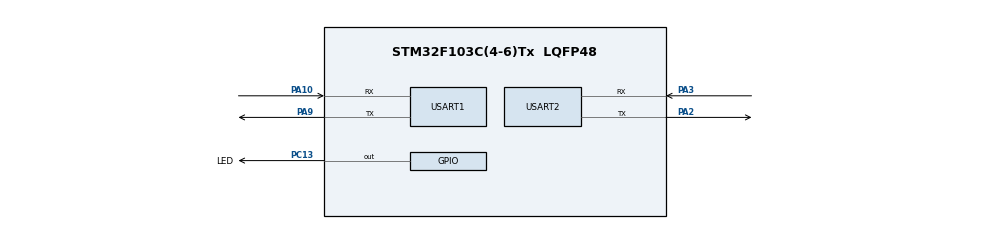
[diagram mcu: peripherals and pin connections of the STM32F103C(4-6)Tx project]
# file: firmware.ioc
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Mcu.Family=STM32F1
Mcu.Name=STM32F103C(4-6)Tx
Mcu.Package=LQFP48
NVIC.PriorityGroup=NVIC_PRIORITYGROUP_4
NVIC.TIM2_IRQn=true\:0\:0\:true\:false\:true\:true\:true\:true
NVIC.TIM3_IRQn=true\:1\:0\:true\:false\:true\:true\:true\:true
NVIC.USART1_IRQn=true\:0\:0\:true\:false\:true\:true\:true\:true
PA10.Mode=Asynchronous
PA10.Signal=USART1_RX
PA13.Mode=Serial_Wire
PA13.Signal=SYS_JTMS-SWDIO
PA14.Mode=Serial_Wire
PA14.Signal=SYS_JTCK-SWCLK
PA2.Mode=Asynchronous
PA2.Signal=USART2_TX
PA3.Mode=Asynchronous
PA3.Signal=USART2_RX
PA9.Mode=Asynchronous
PA9.Signal=USART1_TX
PC13-TAMPER-RTC.GPIO_Label=LED
PC13-TAMPER-RTC.PinState=GPIO_PIN_SET
PC13-TAMPER-RTC.Signal=GPIO_Output
PD0-OSC_IN.Mode=HSE-External-Oscillator
PD0-OSC_IN.Signal=RCC_OSC_IN
PD1-OSC_OUT.Mode=HSE-External-Oscillator
PD1-OSC_OUT.Signal=RCC_OSC_OUT
ProjectManager.HeapSize=0x200
ProjectManager.StackSize=0x400
ProjectManager.TargetToolchain=CMake
RCC.AHBFreq_Value=72000000
RCC.APB1CLKDivider=RCC_HCLK_DIV2
RCC.APB1Freq_Value=36000000
RCC.APB1TimFreq_Value=72000000
RCC.APB2Freq_Value=72000000
RCC.APB2TimFreq_Value=72000000
RCC.HCLKFreq_Value=72000000
RCC.PLLMUL=RCC_PLL_MUL9
RCC.PLLSourceVirtual=RCC_PLLSOURCE_HSE
RCC.SYSCLKFreq_VALUE=72000000
RCC.SYSCLKSource=RCC_SYSCLKSOURCE_PLLCLK
RCC.USBFreq_Value=72000000
TIM2.Period=999
TIM2.Prescaler=71
TIM3.Period=65535
TIM3.Prescaler=71
USART1.VirtualMode=VM_ASYNC
USART2.VirtualMode=VM_ASYNC
VP_TIM2_VS_ClockSourceINT.Mode=Internal
VP_TIM3_VS_ClockSourceINT.Mode=Internal
board=custom

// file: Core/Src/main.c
/* USER CODE BEGIN Header */
/**
 ******************************************************************************
 * @file           : main.c
 * @brief          : Main program body
 ******************************************************************************
 * @attention
 *
 * Copyright (c) 2026 STMicroelectronics.
 * All rights reserved.
 *
 * This software is licensed under terms that can be found in the LICENSE file
 * in the root directory of this software component.
 * If no LICENSE file comes with this software, it is provided AS-IS.
 *
 ******************************************************************************
 */
/* USER CODE END Header */
#include "main.h"
#include "tim.h"
#include "usart.h"
#include "gpio.h"

/* USER CODE BEGIN Includes */
#include <stdint.h>
#include <string.h>
#include <blinky.h>
#include <flash_storage.h>
#include <vscp-fifo.h>
#include <vscp-firmware-helper.h>
#include <vscp-firmware-level2.h>
#include <vscp-link-protocol.h>
#include <vscp-binary-protocol.h>
#include <vscp-link-protocol-callbacks.h>
/* USER CODE END Includes */

/* USER CODE BEGIN PTD */

typedef enum {
  VSCP_STATE_DISCONNECTED = 0, /**< Waiting for a client to connect    */
  VSCP_STATE_CONNECTED,        /**< Client connected, processing cmds  */
} vscp_state_t;

typedef enum {
  VSCP_SUBSTATE_POLL = 0, /**< Polling state */
  VSCP_SUBSTATE_AUTO,     /**< RETR mode */
} vscp_substate_t;

/* USER CODE END PTD */

/* USER CODE BEGIN PD */

// ** Check so one and only one build type is enabled **

/* Convert each define to 0 or 1 */
#ifdef BLINKY_MODE_TCP_SERVER
  #define _MODE_TCP_SERVER 1
#else
  #define _MODE_TCP_SERVER 0
#endif

#ifdef BLINKY_DEMO_MODE_TCP_CLIENT
  #define _OPT_MODE_TCP_CLIENT 1
#else
  #define _OPT_MODE_TCP_CLIENT 0
#endif

#ifdef BLINKY_DEMO_MODE_UDP
  #define _OPT_MODE_UDP 1
#else
  #define _OPT_MODE_UDP 0
#endif

#ifdef BLINKY_DEMO_MODE_MULTICAST
  #define _OPT_MODE_MULTICAST 1
#else
  #define _OPT_MODE_MULTICAST 0
#endif

#ifdef BLINKY_DEMO_MODE_MQTT
  #define _OPT_MODE_MQTT 1
#else
  #define _OPT_MODE_MQTT 0
#endif

#define _OPT_COUNT (_MODE_TCP_SERVER + _OPT_MODE_TCP_CLIENT + _OPT_MODE_UDP + _OPT_MODE_MULTICAST + _OPT_MODE_MQTT)

#if _OPT_COUNT > 1
  #error "Only one of BLINKY_MODE_TCP_SERVER/BLINKY_DEMO_MODE_TCP_CLIENT/BLINKY_DEMO_MODE_UDP/BLINKY_DEMO_MODE_MULTICAST/BLINKY_DEMO_MODE_MQTT may be defined at a time"
#endif

#if _OPT_COUNT != 1
  #error "Exactly one of BLINKY_MODE_TCP_SERVER/BLINKY_DEMO_MODE_TCP_CLIENT/BLINKY_DEMO_MODE_UDP/BLINKY_DEMO_MODE_MULTICAST/BLINKY_DEMO_MODE_MQTT must be defined"
#endif

/* USER CODE END PD */

/* USER CODE BEGIN PV */

/* Ring buffer for IRQ-driven UART1 RX ------------------------------------ */
#define UART1_RX_BUF_SIZE 2048u /* must be a power of 2 */
static uint8_t uart1_rx_buf[UART1_RX_BUF_SIZE];
static volatile uint16_t uart1_rx_head = 0; /* written by ISR/callback     */
static volatile uint16_t uart1_rx_tail = 0; /* read  by main loop          */
static uint8_t uart1_rx_byte;               /* single-byte DMA target      */

//----------------------------------------------------------------------------
//                         VSCP Link Protocol
//----------------------------------------------------------------------------

/*
  Connect callbacks in op table. This table is passed to the VSCP link protocol handler
  and defines the behavior for various operations.
*/
static const vscp_link_ops_t link_ops = {
  /* ── Transport ──────────────────────────────────────────────── */
  .write_client        = vscp_link_callback_write_client,
  .disconnect          = vscp_link_callback_disconnect,
  .quit                = vscp_link_callback_quit,
  .welcome             = vscp_link_callback_welcome,

  /* ── Authentication ─────────────────────────────────────────── */
  .check_user          = vscp_link_callback_check_user,
  .check_password      = vscp_link_callback_check_password,
  .challenge           = vscp_link_callback_challenge,
  .check_authenticated = vscp_link_callback_check_authenticated,
  .check_privilege     = vscp_link_callback_check_privilege,

  /* ── Event I/O ──────────────────────────────────────────────── */
  .send                = vscp_link_callback_send,
  .chkdata             = vscp_link_callback_chkData,
  .clrall              = vscp_link_callback_clrall,
  .retr                = vscp_link_callback_retr,
  .rcvloop             = vscp_link_callback_rcvloop,
  .enable_rcvloop      = vscp_link_callback_enable_rcvloop,
  .get_rcvloop_status  = vscp_link_callback_get_rcvloop_status,

  /* ── Node information ───────────────────────────────────────── */
  .get_guid            = vscp_link_callback_get_guid,
  .set_guid            = vscp_link_callback_set_guid,
  .get_version         = vscp_link_callback_get_version,
  .get_channel_id      = vscp_link_callback_get_channel_id,
  .wcyd                = vscp_link_callback_wcyd,
  .statistics          = vscp_link_callback_statistics,
  .info                = vscp_link_callback_info,

  /* ── Filter / buffer ────────────────────────────────────────── */
  .set_filter          = vscp_link_callback_setFilter,
  .set_mask            = vscp_link_callback_setMask,

  /* ── Interfaces ─────────────────────────────────────────────── */
  .get_interface_count = vscp_link_callback_get_interface_count,
  .get_interface       = vscp_link_callback_get_interface,
  .close_interface     = vscp_link_callback_close_interface,

  /* ── Misc ────────────────────────────────────────────────────── */
  .help_custom         = NULL, // OR vscp_link_callback_help,
  .test                = vscp_link_callback_test,
  .shutdown            = vscp_link_callback_shutdown,
  .restart             = vscp_link_callback_restart,

  /* ── Binary mode ─────────────────────────────────────────────── */
  .binary              = NULL // vscp_link_callback_binary,
};

/* Context for each possible client connection  */
static vscp_link_ctx_t ctx_link = {
  .next              = NULL,
  .ops               = &link_ops,
  .id                = 0,
  .sock              = 0,
  .guid              = { 0 },
  .user              = { 0 },
  .fifoEventsIn      = { 0 },
  .fifoEventsOut     = { 0 },
  .bValidated        = 0,
  .bRcvLoop          = 0,
  .privLevel         = 0,
  .filter            = { 0 },
  .statistics        = { 0 },
  .status            = { 0 },
  .last_rcvloop_time = 0,
  .user_data         = NULL,
};

//----------------------------------------------------------------------------
//                         VSCP Binary Protocol
//----------------------------------------------------------------------------

/* Binary context for each possible client connection */
static vscp_binary_ctx_t ctx_binary = { 0 };

//----------------------------------------------------------------------------
//                         VSCP Protocol
//----------------------------------------------------------------------------

/* Context for VSCP Level II protocol stack */
static vscp_frmw2_firmware_context_t ctx_firmware = {
  .state = FRMW2_STATE_NONE,
  .substate = 0,
 };

node_persistent_config_t g_persistent;

volatile uint32_t msTicks = 0U; /* incremented every 1 ms by TIM2 ISR */

/* USER CODE END PV */

void
SystemClock_Config(void);
/* USER CODE BEGIN PFP */
static void
uart1_rx_start(void);
static int
uart1_rx_getline(char *out, size_t max_len, uint16_t timeout_ms);
static int
uart1_rx_wait_for(const char *needle, uint16_t timeout_ms);
static int
uart1_rx_scan(const char *needle);
static void
uart1_rx_consume_through(const char *needle);
void
setContextDefaults(ctx_t *pctx);
/* USER CODE END PFP */

/* USER CODE BEGIN 0 */
#include <stdio.h>
#include "usart.h"

//////////////////////////////////////////////////////////////////////////
// Retargeting printf to USART2 for debug output.
// This allows us to use printf() to send data over USART2,
// which can be useful for debugging purposes. The __io_putchar
// function is called by the printf() function to output each character,
// and it uses the HAL_UART_Transmit function to send the character over
// USART2. Make sure that USART2 is properly initialized and configured in
// your project for this to work correctly.
//

/*!
 * @brief  Retargets the C library printf function to the USART.
 * @param  ch: Character to be transmitted.
 * @retval The character that was transmitted.
 */
int
__io_putchar(int ch)
{
  HAL_UART_Transmit(&huart2, (uint8_t *) &ch, 1, HAL_MAX_DELAY);
  return ch;
}

/*!
 * @brief  Retargets the C library printf function to the USART.
 * @param  file: File descriptor (not used).
 * @param  ptr: Pointer to the data to be written.
 * @param  len: Length of the data to be written.
 * @retval Number of bytes written.
 */
int
_write(int file, char *ptr, int len)
{
  for (int i = 0; i < len; i++) {
    __io_putchar(*ptr++);
  }
  return len;
}

/*!
 * @brief  Get UART response with timeout (blocking, used during AT init only).
 * @param  buf: Buffer to store the received data.
 * @param  buf_size: Size of the buffer.
 * @param  timeout_ms: Timeout in milliseconds.
 * @retval Number of bytes received, or 0 on timeout.
 */
static size_t
getWizIp20Response(char *buf, size_t buf_size, uint32_t timeout_ms)
{
  memset(buf, 0, buf_size);
  uint16_t rx_len = 0;
  HAL_UARTEx_ReceiveToIdle(&huart1, (uint8_t *) buf, (uint16_t) (buf_size - 1), &rx_len, timeout_ms);
  if (rx_len > 0) {
    buf[rx_len] = '\0';
    printf("IP20 AT response: %s\r\n", buf);
  }
  return rx_len;
}

/*!
 * @brief  Re-arm UART1 IRQ for one byte.  Call once at startup and again
 *         from HAL_UART_RxCpltCallback.
 */
static void
uart1_rx_start(void)
{
  HAL_UART_Receive_IT(&huart1, &uart1_rx_byte, 1);
}

/*!
 * @brief  HAL callback – fires after each byte received via UART1 IT.
 *         Stores the byte in the ring buffer and re-arms the IRQ.
 */
void
HAL_UART_RxCpltCallback(UART_HandleTypeDef *huart)
{
  if (huart->Instance == USART1) {
    uint16_t next = (uart1_rx_head + 1u) & (UART1_RX_BUF_SIZE - 1u);
    if (next != uart1_rx_tail) { /* drop byte if buffer full */
      uart1_rx_buf[uart1_rx_head] = uart1_rx_byte;
      uart1_rx_head               = next;
    }
    uart1_rx_start(); /* re-arm for next byte     */
  }
}

/*!
 * @brief  Fetch a \r\n-terminated string from the UART1 ring buffer.
 *
 * The buffer is only consumed when a complete \r\n line is available,
 * so partial data is never discarded on timeout.
 *
 * @param  out        Destination buffer; null-terminated on success.
 * @param  max_len    Size of @p out in bytes (including the null terminator).
 * @param  timeout_ms Wait behaviour:
 *                      0x0000 – return immediately if no complete line yet
 *                      0x0001…0xFFFE – wait up to N milliseconds
 *                      0xFFFF – wait forever
 * @retval  0   A complete \r\n-terminated line was copied into @p out.
 * @retval -1   No complete line available within the specified timeout.
 */
static int
uart1_rx_getline(char *out, size_t max_len, uint16_t timeout_ms)
{
  /* Scan the ring buffer for \r\n without consuming any bytes yet. */
  for (;;) {
    /* --- peek: is there a \r\n somewhere in the buffer? --- */
    uint16_t head  = uart1_rx_head; /* snapshot (volatile, read once) */
    uint16_t idx   = uart1_rx_tail;
    uint8_t found  = 0;
    uint16_t eol   = 0; /* index of '\n' in ring buffer   */
    uint16_t count = 0; /* bytes up to and including '\n' */

    while (idx != head) {
      uint8_t ch = uart1_rx_buf[idx];
      count++;
      if (ch == '\n' && count >= 2 && uart1_rx_buf[(idx - 1u) & (UART1_RX_BUF_SIZE - 1u)] == '\r') {
        found = 1;
        eol   = idx;
        break;
      }
      idx = (idx + 1u) & (UART1_RX_BUF_SIZE - 1u);
    }

    if (found) {
      /* Consume bytes up to and including the '\n'. */
      size_t pos = 0;
      idx        = uart1_rx_tail;
      while (1) {
        uint8_t ch = uart1_rx_buf[idx];
        if (pos < max_len - 1u) {
          out[pos++] = (char) ch;
        }
        idx           = (idx + 1u) & (UART1_RX_BUF_SIZE - 1u);
        uart1_rx_tail = idx;
        if (idx == (uint16_t) ((eol + 1u) & (UART1_RX_BUF_SIZE - 1u)))
          break;
      }
      out[pos] = '\0';
      return 0;
    }

    /* No complete line yet – handle timeout. */
    if (timeout_ms == 0u) {
      return -1; /* no-wait: fail immediately      */
    }
    if (timeout_ms == 0xFFFFu) {
      continue; /* wait forever: keep polling     */
    }

    /* Finite timeout: spin until deadline or line arrives. */
    uint32_t deadline = HAL_GetTick() + timeout_ms;
    while (HAL_GetTick() < deadline) {
      /* re-check ring buffer */
      head  = uart1_rx_head;
      idx   = uart1_rx_tail;
      found = 0;
      count = 0;
      while (idx != head) {
        uint8_t ch = uart1_rx_buf[idx];
        count++;
        if (ch == '\n' && count >= 2 && uart1_rx_buf[(idx - 1u) & (UART1_RX_BUF_SIZE - 1u)] == '\r') {
          found = 1;
          eol   = idx;
          break;
        }
        idx = (idx + 1u) & (UART1_RX_BUF_SIZE - 1u);
      }
      if (found)
        break;
    }
    if (!found)
      return -1; /* timed out                      */
    /* line arrived during finite wait – loop back to consume it        */
    timeout_ms = 0xFFFFu; /* force consume path next iter   */
  }
}
/*!
 * @brief  Wait until @p needle appears anywhere in a received line.
 *
 * Reads complete \r\n-terminated lines from the ring buffer one at a time
 * and checks whether @p needle is a substring of each line.
 * Lines that do not match are discarded.
 *
 * @param  needle      String to search for (case-sensitive substring match).
 * @param  timeout_ms  Same semantics as uart1_rx_getline:
 *                       0x0000 – return immediately if no matching line queued
 *                       0x0001–0xFFFE – wait up to N ms
 *                       0xFFFF – wait forever
 * @retval  0   A line containing @p needle was found.
 * @retval -1   Timeout elapsed without a matching line.
 */
static int __attribute__((unused))
uart1_rx_wait_for(const char *needle, uint16_t timeout_ms)
{
  static char line[100];
  uint32_t deadline = (timeout_ms != 0u && timeout_ms != 0xFFFFu) ? HAL_GetTick() + timeout_ms : 0u;

  for (;;) {
    /* How long to wait for the next line? */
    uint16_t line_timeout;
    if (timeout_ms == 0u) {
      line_timeout = 0u; /* no-wait              */
    }
    else if (timeout_ms == 0xFFFFu) {
      line_timeout = 0xFFFFu; /* wait forever         */
    }
    else {
      uint32_t now = HAL_GetTick();
      if (now >= deadline)
        return -1; /* overall timeout      */
      uint32_t left = deadline - now;
      line_timeout  = (left > 0xFFFEu) ? 0xFFFEu : (uint16_t) left;
    }

    if (uart1_rx_getline(line, sizeof(line), line_timeout) != 0) {
      return -1; /* no line / timed out  */
    }

    if (strstr(line, needle) != NULL) {
      return 0; /* match found          */
    }
    /* line didn't match – discard and try again (unless no-wait) */
    if (timeout_ms == 0u)
      return -1;
  }
}
/*!
 * @brief  Scan the ring buffer for @p needle without consuming any bytes.
 * @retval 0  Needle found in the buffer.
 * @retval -1 Needle not present.
 */
static int
uart1_rx_scan(const char *needle)
{
  size_t nlen   = strlen(needle);
  uint16_t head = uart1_rx_head; /* snapshot */
  uint16_t idx  = uart1_rx_tail;
  size_t mpos   = 0; /* match position within needle */

  while (idx != head) {
    if ((char) uart1_rx_buf[idx] == needle[mpos]) {
      mpos++;
      if (mpos == nlen)
        return 0; /* full match */
    }
    else {
      mpos = 0;
      /* re-check current char against needle[0] */
      if ((char) uart1_rx_buf[idx] == needle[0])
        mpos = 1;
    }
    idx = (idx + 1u) & (UART1_RX_BUF_SIZE - 1u);
  }
  return -1;
}

/*!
 * @brief  Discard all bytes in the ring buffer up to and including the
 *         last character of @p needle.  Call only after uart1_rx_scan()
 *         returned 0.
 */
static void
uart1_rx_consume_through(const char *needle)
{
  size_t nlen   = strlen(needle);
  uint16_t head = uart1_rx_head; /* snapshot */
  uint16_t idx  = uart1_rx_tail;
  size_t mpos   = 0;

  while (idx != head) {
    if ((char) uart1_rx_buf[idx] == needle[mpos]) {
      mpos++;
      idx = (idx + 1u) & (UART1_RX_BUF_SIZE - 1u);
      if (mpos == nlen) {
        uart1_rx_tail = idx; /* consume up to end of needle */
        return;
      }
    }
    else {
      mpos = 0;
      if ((char) uart1_rx_buf[idx] == needle[0]) {
        mpos = 1;
      }
      idx = (idx + 1u) & (UART1_RX_BUF_SIZE - 1u);
    }
  }
}

/*!
 * @brief  Get the unique identifier (GUID) for the device.
 *
 * VSCP reserves a group of GUID's for MCU's with a built-in unique ID,
 * where the GUID is constructed from a fixed prefix.
 *
 * One other possibility was to use the WIZnet's MAC address and the
 * reserved GUID prefix to construct a GUID built here we use the unique
 * MCU ID instead since it's guaranteed to be unique and doesn't require
 * an extra step to read the MAC address from the WIZnet.
 *
 * More info on VSCP GUID construction for MCU-based devices here:
 * https://grodansparadis.github.io/vscp-doc-spec/#/./vscp_globally_unique_identifiers
 *
 *This GUID is constructed like this
 *
 * FD:AA:BB:YY:YY:YY:YY:YY:YY:YY:YY:YY:YY:YY:YY:YY
 *
 * AA is a manufacturer code assigned by VSCP (02 for STMicroelectronics)
 *
 * BB is a device type code assigned by VSCP (01 for STM32)
 *
 * The 13 byte YY:YY:YY:YY:YY:YY:YY:YY:YY:YY:YY:YY:YY is something we can
 * define freely as long as it's unique for each device. We can get 12 byte
 * from the unique MCU ID using the HAL_GetUIDw0(), HAL_GetUIDw1(),
 * and HAL_GetUIDw2() functions. Then we can set the last byte to zero.
 *
 * @param  pguid: Pointer to a 16-byte array where the GUID will be stored.
 */
void
setGUID(uint8_t *pguid)
{
  uint32_t uid;

  memset(pguid, 0, 16); /* Clear the GUID buffer */
  pguid[0] = 0xFD;      /* VSCP reserved prefix for MCU-based GUIDs */
  pguid[1] = 0x02;      /* Manufacturer code for STMicroelectronics */
  pguid[2] = 0x01;      /* Device type code for STM32 */

  uid      = HAL_GetUIDw2(); // Words 2 (bits 95:64)
  pguid[3] = (uid >> 24) & 0xFF;
  pguid[4] = (uid >> 16) & 0xFF;
  pguid[5] = (uid >> 8) & 0xFF;
  pguid[6] = uid & 0xFF;

  uid       = HAL_GetUIDw0(); // Words 0 (bits 31:0)
  pguid[7]  = (uid >> 24) & 0xFF;
  pguid[8]  = (uid >> 16) & 0xFF;
  pguid[9]  = (uid >> 8) & 0xFF;
  pguid[10] = uid & 0xFF;

  uid       = HAL_GetUIDw1(); // Words 1 (bits 63:32)
  pguid[11] = (uid >> 24) & 0xFF;
  pguid[12] = (uid >> 16) & 0xFF;
  pguid[13] = (uid >> 8) & 0xFF;
  pguid[14] = uid & 0xFF;

  pguid[15] = 0; // Last byte set to zero
}

///////////////////////////////////////////////////////////////////////////////
// setContextDefaults
//

/*
  As we only have one channel we can get away with a single global context
  object, but we define this function to set defaults for it and to reset
  it between connections if needed.
*/

void
setContextDefaults(ctx_t *pctx)
{
  memset(pctx, 0, sizeof(ctx_t));
  pctx->id   = 0;
  pctx->sock = 0;
  memset(pctx->user, 0, VSCP_LINK_MAX_USER_NAME_LENGTH);
  setGUID(pctx->guid);
  vscp_fifo_init(&pctx->fifoEventsOut, VSCP_LINK_MAX_OUT_FIFO_SIZE);
  vscp_fifo_init(&pctx->fifoEventsIn, VSCP_LINK_MAX_IN_FIFO_SIZE);
  pctx->bValidated = 0; // No credentials yet
  pctx->privLevel  = 0; // No privileges before we are logged in
  pctx->bRcvLoop   = 0; // Polling mode by default, can switch to RETR after login if desired
  memset(&pctx->filter, 0, sizeof(vscpEventFilter));       // All events is received by client
  memset(&pctx->statistics, 0, sizeof(vscp_statistics_t)); // VSCP Statistics
  memset(&pctx->status, 0, sizeof(vscp_status_t));         // VSCP status
  pctx->last_rcvloop_time = 0;
}

///////////////////////////////////////////////////////////////////////////////
// resetContextDefaults
//

void
resetContextDefaults(ctx_t *pctx)
{
  pctx->bValidated = 0; // No credentials yet
  pctx->privLevel  = 0; // No privileges before we are logged in
  pctx->bRcvLoop   = 0; // Polling mode by default, can switch to RETR after login if desired
  memset(&pctx->filter, 0, sizeof(vscpEventFilter));       // All events is received by client
  memset(&pctx->statistics, 0, sizeof(vscp_statistics_t)); // VSCP Statistics
  memset(&pctx->status, 0, sizeof(vscp_status_t));         // VSCP status
  pctx->last_rcvloop_time = 0;

  // Drain the fifos
  vscp_fifo_clear(&pctx->fifoEventsOut);
  vscp_fifo_clear(&pctx->fifoEventsIn);
}

///////////////////////////////////////////////////////////////////////////////
// goCommandMode
//

int
goCommandMode(void)
{
  size_t rx_len;
  char buf[80];

  // Enter command mode: guard time, "+++", guard time
  HAL_Delay(500);
  HAL_UART_Transmit(&huart1, (uint8_t *) "+++", 3, HAL_MAX_DELAY);
  HAL_Delay(500);
  rx_len = getWizIp20Response(buf, sizeof(buf), 1000);
  return 0;
}

///////////////////////////////////////////////////////////////////////////////
// sendCommand
//
int
sendCommand(const char *cmd, char *response_buf, size_t response_buf_size, uint16_t timeout_ms)
{
  HAL_UART_Transmit(&huart1, (uint8_t *) cmd, strlen(cmd), HAL_MAX_DELAY);
  return getWizIp20Response(response_buf, response_buf_size, timeout_ms);
}

///////////////////////////////////////////////////////////////////////////////
// validate_user
//
int
validate_user(const char *user, const char *password)
{
  // For demonstration purposes, we accept a single hardcoded username/password.
  // In a real implementation, you should check against securely stored credentials.
  const char *valid_user     = "vscp";
  const char *valid_password = "secret";

  return (strcmp(user, valid_user) == 0) && (strcmp(password, valid_password) == 0);
}

/* USER CODE END 0 */

int
main(void)
{
  /* USER CODE BEGIN 1 */
  char buf[100]; // Buffer for AT command responses and incoming data
  size_t rx_len;
  (void) rx_len;                  // only used to capture AT response lengths during init
  uint32_t led_blink_until   = 0; // LED blink timestamp
  vscp_state_t vscp_state    = VSCP_STATE_DISCONNECTED;
  vscp_state_t vscp_substate = VSCP_SUBSTATE_POLL;
  /* USER CODE END 1 */

  /* MCU Configuration--------------------------------------------------------*/

  /* Reset of all peripherals, Initializes the Flash interface and the Systick. */
  HAL_Init();

  /* Configure the system clock */
  SystemClock_Config();

  /* Initialize all configured peripherals */
  MX_GPIO_Init();
  MX_USART1_UART_Init();
  MX_TIM2_Init();
  MX_TIM3_Init();
  MX_USART2_UART_Init();
  /* USER CODE BEGIN 2 */

  /* Start TIM2 in interrupt mode — fires every 1 ms */
  if (HAL_TIM_Base_Start_IT(&htim2) != HAL_OK) {
    Error_Handler();
  }

  /* Start TIM3 — free-running 1 µs counter, overflow interrupt for 32-bit extension */
  if (HAL_TIM_Base_Start_IT(&htim3) != HAL_OK) {
    Error_Handler();
  }

  // Initialize context for client connections
  // setContextDefaults(&ctx[0]);

  // Debug print to indicate that the program has started
  printf("STM32F103 Wiznet IP20 VSCP blink demo starting\r\n");

  /*
    * WIZ-IP20 initialization sequence (AT command mode, blocking)
      We use blocking calls here for simplicity since this only runs once at startup.

      Commands are here: https://docs.wiznet.io/Product/Modules/Serial-to-Ethernet-Module/W232N/command-manual-en
  */

  rx_len = getWizIp20Response(buf, sizeof(buf), 10);

  // Enter AT command mode: guard time, "+++", guard time
  // HAL_Delay(500);
  // HAL_UART_Transmit(&huart1, (uint8_t *) "+++", 3, HAL_MAX_DELAY);
  // HAL_Delay(500);
  goCommandMode();

  rx_len = getWizIp20Response(buf, sizeof(buf), 1000);

  // Query product name
  HAL_UART_Transmit(&huart1, (uint8_t *) "MN\r\n", 4, HAL_MAX_DELAY);
  rx_len = getWizIp20Response(buf, sizeof(buf), 1000);

  // Query firmware version
  HAL_UART_Transmit(&huart1, (uint8_t *) "VR\r\n", 4, HAL_MAX_DELAY);
  rx_len = getWizIp20Response(buf, sizeof(buf), 1000);

  // Query MAC address
  HAL_UART_Transmit(&huart1, (uint8_t *) "MC\r\n", 4, HAL_MAX_DELAY);
  rx_len = getWizIp20Response(buf, sizeof(buf), 1000);

  // Query operation mode
  HAL_UART_Transmit(&huart1, (uint8_t *) "OP\r\n", 4, HAL_MAX_DELAY);
  rx_len = getWizIp20Response(buf, sizeof(buf), 1000);

  // Get connect string
  HAL_UART_Transmit(&huart1, (uint8_t *) "SD\r\n", 4, HAL_MAX_DELAY);
  rx_len = getWizIp20Response(buf, sizeof(buf), 1000);

  // Get connect string
  HAL_UART_Transmit(&huart1, (uint8_t *) "DD\r\n", 4, HAL_MAX_DELAY);
  rx_len = getWizIp20Response(buf, sizeof(buf), 1000);

  // Get UART interface
  HAL_UART_Transmit(&huart1, (uint8_t *) "UN\r\n", 4, HAL_MAX_DELAY);
  rx_len = getWizIp20Response(buf, sizeof(buf), 1000);

  // Get local IP address
  HAL_UART_Transmit(&huart1, (uint8_t *) "LI\r\n", 4, HAL_MAX_DELAY);
  rx_len = getWizIp20Response(buf, sizeof(buf), 1000);

  // Get local subnet mask
  HAL_UART_Transmit(&huart1, (uint8_t *) "SM\r\n", 4, HAL_MAX_DELAY);
  rx_len = getWizIp20Response(buf, sizeof(buf), 1000);

  // Get local gateway IP address
  HAL_UART_Transmit(&huart1, (uint8_t *) "GW\r\n", 4, HAL_MAX_DELAY);
  rx_len = getWizIp20Response(buf, sizeof(buf), 1000);

  // Get local DNS IP address
  HAL_UART_Transmit(&huart1, (uint8_t *) "DS\r\n", 4, HAL_MAX_DELAY);
  rx_len = getWizIp20Response(buf, sizeof(buf), 1000);

  // Get local port number
  HAL_UART_Transmit(&huart1, (uint8_t *) "LP\r\n", 4, HAL_MAX_DELAY);
  rx_len = getWizIp20Response(buf, sizeof(buf), 1000);

  // Set connect string
  HAL_UART_Transmit(&huart1, (uint8_t *) "SD<CONNECT>\r\n", 13, HAL_MAX_DELAY);

  // Set disconnect string
  HAL_UART_Transmit(&huart1, (uint8_t *) "DD<DISCONNECT>\r\n", 16, HAL_MAX_DELAY);

  // Save settings
  HAL_UART_Transmit(&huart1, (uint8_t *) "SV\r\n", 4, HAL_MAX_DELAY);

  // Restart
  HAL_UART_Transmit(&huart1, (uint8_t *) "RT\r\n", 4, HAL_MAX_DELAY);

  HAL_Delay(500);

  // Switch to IRQ-driven receive for data mode
  uart1_rx_start();

  // Greet
  HAL_UART_Transmit(&huart1, (uint8_t *) "HELLO WORLD\r\n", 13, HAL_MAX_DELAY);

  /* USER CODE END 2 */

  /* Infinite loop */
  while (1) {

    /* USER CODE BEGIN 3 */

    /* ------------------------------------------------------------------
     * State machine – scan ring buffer for control tokens (no \r\n needed)
     * ----------------------------------------------------------------*/
    switch (vscp_state) {

      case VSCP_STATE_DISCONNECTED:
        if (uart1_rx_scan("<CONNECT>") == 0) {
          uart1_rx_consume_through("<CONNECT>");
          printf("Received <CONNECT>\r\n");
          HAL_GPIO_WritePin(GPIOC, GPIO_PIN_13, GPIO_PIN_RESET);
          led_blink_until      = HAL_GetTick() + 50u;
          const char welcome[] = "Welcome to the VSCP daemon on ST32 + Wiznet IP20.\r\n"
                                 "Version: 0.0.1\r\n"
                                 "Copyright (c) 2000-2026 Ake Hedman, Grodans \r\n"
                                 "Paradis AB, https://www.grodansparadis.com\r\n"
                                 "+OK - Success.\r\n";
          HAL_UART_Transmit(&huart1, (uint8_t *) welcome, sizeof(welcome) - 1, HAL_MAX_DELAY);
          vscp_state = VSCP_STATE_CONNECTED;
          printf("State: DISCONNECTED -> CONNECTED\r\n");
        }
        else {
          /* Discard any \r\n-terminated lines that aren't <CONNECT> */
          uart1_rx_getline(buf, sizeof(buf), 0);
        }
        break;

      case VSCP_STATE_CONNECTED:
        if (uart1_rx_scan("<DISCONNECT>") == 0) {
          uart1_rx_consume_through("<DISCONNECT>");
          printf("Received <DISCONNECT>\r\n");
          HAL_GPIO_WritePin(GPIOC, GPIO_PIN_13, GPIO_PIN_RESET);
          led_blink_until = HAL_GetTick() + 50u;
          HAL_UART_Transmit(&huart1, (uint8_t *) "+OK - Disconnect.\r\n", 19, HAL_MAX_DELAY);
          vscp_state = VSCP_STATE_DISCONNECTED;
          printf("State: CONNECTED -> DISCONNECTED\r\n");
        }
        else if (uart1_rx_getline(buf, sizeof(buf), 0) == 0) {
          /* Consume and log incoming VSCP commands */
          printf("VSCP cmd: %s", buf);
          HAL_GPIO_WritePin(GPIOC, GPIO_PIN_13, GPIO_PIN_RESET);
          led_blink_until = HAL_GetTick() + 50u;
        }
        break;

      default:
        vscp_state = VSCP_STATE_DISCONNECTED;
        break;
    }

    /* Turn LED off after 50 ms blink */
    if (led_blink_until != 0u && HAL_GetTick() >= led_blink_until) {
      HAL_GPIO_WritePin(GPIOC, GPIO_PIN_13, GPIO_PIN_SET); /* LED off */
      led_blink_until = 0u;
    }

    /* Toggle the state of pin 13 on GPIO port C */
    // if ((HAL_GetTick() - now) >= 500) {
    //   now = HAL_GetTick();
    //   HAL_GPIO_TogglePin(GPIOC, GPIO_PIN_13);
    //   printf("Super\r\n"); // Print "Super" to the ITM console
    //   const char msg[] = "hello\r\n";
    //   HAL_UART_Transmit(&huart2, (uint8_t *) msg, sizeof(msg) - 1, HAL_MAX_DELAY);
    // }

    /* Wait for 500 milliseconds */
    // HAL_Delay(500);
  }
  /* USER CODE END 3 */
}

void
SystemClock_Config(void)
{
  RCC_OscInitTypeDef RCC_OscInitStruct = { 0 };
  RCC_ClkInitTypeDef RCC_ClkInitStruct = { 0 };

  /** Initializes the RCC Oscillators according to the specified parameters
   * in the RCC_OscInitTypeDef structure.
   */
  RCC_OscInitStruct.OscillatorType = RCC_OSCILLATORTYPE_HSE;
  RCC_OscInitStruct.HSEState       = RCC_HSE_ON;
  RCC_OscInitStruct.HSEPredivValue = RCC_HSE_PREDIV_DIV1;
  RCC_OscInitStruct.HSIState       = RCC_HSI_ON;
  RCC_OscInitStruct.PLL.PLLState   = RCC_PLL_ON;
  RCC_OscInitStruct.PLL.PLLSource  = RCC_PLLSOURCE_HSE;
  RCC_OscInitStruct.PLL.PLLMUL     = RCC_PLL_MUL9;
  if (HAL_RCC_OscConfig(&RCC_OscInitStruct) != HAL_OK) {
    Error_Handler();
  }

  /** Initializes the CPU, AHB and APB buses clocks
   */
  RCC_ClkInitStruct.ClockType = RCC_CLOCKTYPE_HCLK | RCC_CLOCKTYPE_SYSCLK | RCC_CLOCKTYPE_PCLK1 | RCC_CLOCKTYPE_PCLK2;
  RCC_ClkInitStruct.SYSCLKSource   = RCC_SYSCLKSOURCE_PLLCLK;
  RCC_ClkInitStruct.AHBCLKDivider  = RCC_SYSCLK_DIV1;
  RCC_ClkInitStruct.APB1CLKDivider = RCC_HCLK_DIV2;
  RCC_ClkInitStruct.APB2CLKDivider = RCC_HCLK_DIV1;

  if (HAL_RCC_ClockConfig(&RCC_ClkInitStruct, FLASH_LATENCY_2) != HAL_OK) {
    Error_Handler();
  }
}

void
Error_Handler(void)
{
  __disable_irq();
  while (1) {}
}
